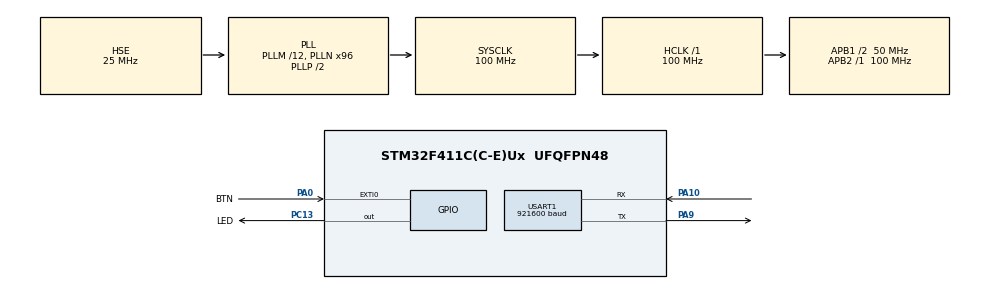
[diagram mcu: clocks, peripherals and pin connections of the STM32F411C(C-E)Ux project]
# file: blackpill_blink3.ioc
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Mcu.Family=STM32F4
Mcu.Name=STM32F411C(C-E)Ux
Mcu.Package=UFQFPN48
NVIC.EXTI0_IRQn=true\:0\:0\:false\:false\:true\:true\:true\:true
NVIC.PriorityGroup=NVIC_PRIORITYGROUP_4
PA0-WKUP.GPIO_Label=BTN
PA0-WKUP.GPIO_ModeDefaultEXTI=GPIO_MODE_IT_RISING
PA0-WKUP.GPIO_PuPd=GPIO_PULLUP
PA0-WKUP.Signal=GPXTI0
PA10.Mode=Asynchronous
PA10.Signal=USART1_RX
PA13.Mode=Serial_Wire
PA13.Signal=SYS_JTMS-SWDIO
PA14.Mode=Serial_Wire
PA14.Signal=SYS_JTCK-SWCLK
PA9.Mode=Asynchronous
PA9.Signal=USART1_TX
PC13-ANTI_TAMP.GPIO_Label=LED
PC13-ANTI_TAMP.GPIO_ModeDefaultOutputPP=GPIO_MODE_OUTPUT_OD
PC13-ANTI_TAMP.GPIO_PuPd=GPIO_NOPULL
PC13-ANTI_TAMP.PinState=GPIO_PIN_SET
PC13-ANTI_TAMP.Signal=GPIO_Output
PH0\ -\ OSC_IN.Mode=HSE-External-Oscillator
PH0\ -\ OSC_IN.Signal=RCC_OSC_IN
PH1\ -\ OSC_OUT.Mode=HSE-External-Oscillator
PH1\ -\ OSC_OUT.Signal=RCC_OSC_OUT
ProjectManager.HeapSize=0x200
ProjectManager.StackSize=0x400
ProjectManager.TargetToolchain=STM32CubeIDE
RCC.48MHZClocksFreq_Value=50000000
RCC.AHBFreq_Value=100000000
RCC.APB1CLKDivider=RCC_HCLK_DIV2
RCC.APB1Freq_Value=50000000
RCC.APB1TimFreq_Value=100000000
RCC.APB2Freq_Value=100000000
RCC.APB2TimFreq_Value=100000000
RCC.CortexFreq_Value=100000000
RCC.HCLKFreq_Value=100000000
RCC.HSE_VALUE=25000000
RCC.HSI_VALUE=16000000
RCC.LSE_VALUE=32768
RCC.PLLM=12
RCC.PLLN=96
RCC.PLLSourceVirtual=RCC_PLLSOURCE_HSE
RCC.SYSCLKFreq_VALUE=100000000
RCC.SYSCLKSource=RCC_SYSCLKSOURCE_PLLCLK
RCC.VCOOutputFreq_Value=200000000
USART1.BaudRate=921600
USART1.VirtualMode=VM_ASYNC
board=custom

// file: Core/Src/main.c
/* USER CODE BEGIN Header */
/**
  ******************************************************************************
  * @file           : main.c
  * @brief          : Main program body
  ******************************************************************************
  * @attention
  *
  * Copyright (c) 2025 STMicroelectronics.
  * All rights reserved.
  *
  * This software is licensed under terms that can be found in the LICENSE file
  * in the root directory of this software component.
  * If no LICENSE file comes with this software, it is provided AS-IS.
  *
  ******************************************************************************
  */
/* USER CODE END Header */
#include "main.h"

/* USER CODE BEGIN Includes */
#include <stdio.h>
/* USER CODE END Includes */

UART_HandleTypeDef huart1;

/* USER CODE BEGIN PV */
uint8_t btn_press = 0;

uint16_t blink_delays[] = {
		500,
		250,
		100
};

uint8_t blink_delay = 0;

/* USER CODE END PV */

void SystemClock_Config(void);
static void MX_GPIO_Init(void);
static void MX_USART1_UART_Init(void);

/* USER CODE BEGIN 0 */

// Send printf to uart1

int _write(int fd, char* ptr, int len) {
  HAL_StatusTypeDef hstatus;

  if (fd == 1 || fd == 2) {
    hstatus = HAL_UART_Transmit(&huart1, (uint8_t *) ptr, len, HAL_MAX_DELAY);
    if (hstatus == HAL_OK)
      return len;
    else
      return -1;
  }
  return -1;
}

void HAL_GPIO_EXTI_Callback(uint16_t GPIO_Pin){
  if (GPIO_Pin == BTN_Pin){
	  btn_press = 1;
  }
}

/* USER CODE END 0 */

int main(void)
{

  /* MCU Configuration--------------------------------------------------------*/

  /* Reset of all peripherals, Initializes the Flash interface and the Systick. */
  HAL_Init();

  /* Configure the system clock */
  SystemClock_Config();

  /* Initialize all configured peripherals */
  MX_GPIO_Init();
  MX_USART1_UART_Init();
  /* USER CODE BEGIN 2 */

  printf("Blink2 Starting\n");

  /* USER CODE END 2 */

  /* Infinite loop */
  /* USER CODE BEGIN WHILE */

  uint32_t now = 0, last_blink = 0, last_tick = 0, loop_cnt = 0;

  while (1)
  {

	  now = HAL_GetTick();

	  if (now - last_blink >= blink_delays[blink_delay]) {

		  printf("Toggling GPIO\n");

		  HAL_GPIO_TogglePin(LED_GPIO_Port, LED_Pin);

		  last_blink = now;
	  }

	  if (now - last_tick >= 1000) {
		  printf("Tick %lu (loop count = %lu)\n", now / 1000, loop_cnt);

		  loop_cnt = 0;
		  last_tick = now;
	  }

	  if (btn_press == 1) {
		  printf("Button pressed\n");

		  ++blink_delay;
		  if (blink_delay >= sizeof(blink_delays) / sizeof(blink_delays[0])) blink_delay = 0;

		  btn_press = 0;
	  }

	  ++loop_cnt;
    /* USER CODE END WHILE */

  }
}

void SystemClock_Config(void)
{
  RCC_OscInitTypeDef RCC_OscInitStruct = {0};
  RCC_ClkInitTypeDef RCC_ClkInitStruct = {0};

  /** Configure the main internal regulator output voltage
  */
  __HAL_RCC_PWR_CLK_ENABLE();
  __HAL_PWR_VOLTAGESCALING_CONFIG(PWR_REGULATOR_VOLTAGE_SCALE1);

  /** Initializes the RCC Oscillators according to the specified parameters
  * in the RCC_OscInitTypeDef structure.
  */
  RCC_OscInitStruct.OscillatorType = RCC_OSCILLATORTYPE_HSE;
  RCC_OscInitStruct.HSEState = RCC_HSE_ON;
  RCC_OscInitStruct.PLL.PLLState = RCC_PLL_ON;
  RCC_OscInitStruct.PLL.PLLSource = RCC_PLLSOURCE_HSE;
  RCC_OscInitStruct.PLL.PLLM = 12;
  RCC_OscInitStruct.PLL.PLLN = 96;
  RCC_OscInitStruct.PLL.PLLP = RCC_PLLP_DIV2;
  RCC_OscInitStruct.PLL.PLLQ = 4;
  if (HAL_RCC_OscConfig(&RCC_OscInitStruct) != HAL_OK)
  {
    Error_Handler();
  }

  /** Initializes the CPU, AHB and APB buses clocks
  */
  RCC_ClkInitStruct.ClockType = RCC_CLOCKTYPE_HCLK|RCC_CLOCKTYPE_SYSCLK
                              |RCC_CLOCKTYPE_PCLK1|RCC_CLOCKTYPE_PCLK2;
  RCC_ClkInitStruct.SYSCLKSource = RCC_SYSCLKSOURCE_PLLCLK;
  RCC_ClkInitStruct.AHBCLKDivider = RCC_SYSCLK_DIV1;
  RCC_ClkInitStruct.APB1CLKDivider = RCC_HCLK_DIV2;
  RCC_ClkInitStruct.APB2CLKDivider = RCC_HCLK_DIV1;

  if (HAL_RCC_ClockConfig(&RCC_ClkInitStruct, FLASH_LATENCY_3) != HAL_OK)
  {
    Error_Handler();
  }
}

static void MX_USART1_UART_Init(void)
{

  huart1.Instance = USART1;
  huart1.Init.BaudRate = 921600;
  huart1.Init.WordLength = UART_WORDLENGTH_8B;
  huart1.Init.StopBits = UART_STOPBITS_1;
  huart1.Init.Parity = UART_PARITY_NONE;
  huart1.Init.Mode = UART_MODE_TX_RX;
  huart1.Init.HwFlowCtl = UART_HWCONTROL_NONE;
  huart1.Init.OverSampling = UART_OVERSAMPLING_16;
  if (HAL_UART_Init(&huart1) != HAL_OK)
  {
    Error_Handler();
  }

}

static void MX_GPIO_Init(void)
{
  GPIO_InitTypeDef GPIO_InitStruct = {0};

  /* GPIO Ports Clock Enable */
  __HAL_RCC_GPIOC_CLK_ENABLE();
  __HAL_RCC_GPIOH_CLK_ENABLE();
  __HAL_RCC_GPIOA_CLK_ENABLE();

  /*Configure GPIO pin Output Level */
  HAL_GPIO_WritePin(LED_GPIO_Port, LED_Pin, GPIO_PIN_SET);

  /*Configure GPIO pin : LED_Pin */
  GPIO_InitStruct.Pin = LED_Pin;
  GPIO_InitStruct.Mode = GPIO_MODE_OUTPUT_OD;
  GPIO_InitStruct.Pull = GPIO_NOPULL;
  GPIO_InitStruct.Speed = GPIO_SPEED_FREQ_LOW;
  HAL_GPIO_Init(LED_GPIO_Port, &GPIO_InitStruct);

  /*Configure GPIO pin : BTN_Pin */
  GPIO_InitStruct.Pin = BTN_Pin;
  GPIO_InitStruct.Mode = GPIO_MODE_IT_RISING;
  GPIO_InitStruct.Pull = GPIO_PULLUP;
  HAL_GPIO_Init(BTN_GPIO_Port, &GPIO_InitStruct);

  /* EXTI interrupt init*/
  HAL_NVIC_SetPriority(EXTI0_IRQn, 0, 0);
  HAL_NVIC_EnableIRQ(EXTI0_IRQn);

}

void Error_Handler(void)
{
  __disable_irq();
  while (1)
  {
  }
}
